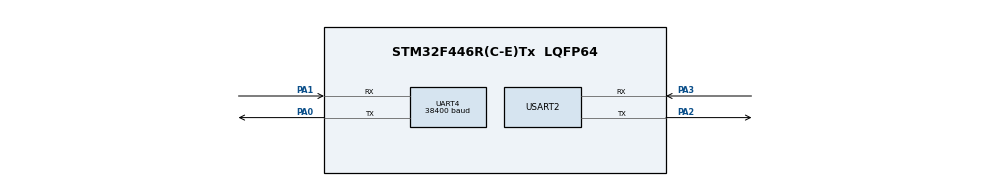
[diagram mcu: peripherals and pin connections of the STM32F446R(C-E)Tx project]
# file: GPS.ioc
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Dma.Request0=UART4_RX
Dma.UART4_RX.0.Direction=DMA_PERIPH_TO_MEMORY
Dma.UART4_RX.0.FIFOMode=DMA_FIFOMODE_DISABLE
Dma.UART4_RX.0.Instance=DMA1_Stream2
Dma.UART4_RX.0.MemDataAlignment=DMA_MDATAALIGN_BYTE
Dma.UART4_RX.0.MemInc=DMA_MINC_ENABLE
Dma.UART4_RX.0.Mode=DMA_CIRCULAR
Dma.UART4_RX.0.PeriphDataAlignment=DMA_PDATAALIGN_BYTE
Dma.UART4_RX.0.PeriphInc=DMA_PINC_DISABLE
Dma.UART4_RX.0.Priority=DMA_PRIORITY_VERY_HIGH
Mcu.Family=STM32F4
Mcu.Name=STM32F446R(C-E)Tx
Mcu.Package=LQFP64
NVIC.DMA1_Stream2_IRQn=true\:0\:0\:false\:false\:true\:false\:true\:true
NVIC.PriorityGroup=NVIC_PRIORITYGROUP_4
NVIC.UART4_IRQn=true\:0\:0\:false\:false\:true\:true\:true\:true
PA0-WKUP.Mode=Asynchronous
PA0-WKUP.Signal=UART4_TX
PA1.Mode=Asynchronous
PA1.Signal=UART4_RX
PA2.Mode=Asynchronous
PA2.Signal=USART2_TX
PA3.Mode=Asynchronous
PA3.Signal=USART2_RX
ProjectManager.HeapSize=0x200
ProjectManager.StackSize=0x400
ProjectManager.TargetToolchain=STM32CubeIDE
RCC.CortexFreq_Value=16000000
RCC.USBFreq_Value=96000000
RCC.VCOOutputFreq_Value=192000000
UART4.BaudRate=38400
UART4.VirtualMode=Asynchronous
USART2.VirtualMode=VM_ASYNC
board=custom

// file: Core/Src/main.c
/* USER CODE BEGIN Header */
/**
  ******************************************************************************
  * @file           : main.c
  * @brief          : Main program body
  ******************************************************************************
  * @attention
  *
  * Copyright (c) 2024 STMicroelectronics.
  * All rights reserved.
  *
  * This software is licensed under terms that can be found in the LICENSE file
  * in the root directory of this software component.
  * If no LICENSE file comes with this software, it is provided AS-IS.
  *
  ******************************************************************************
  */
/* USER CODE END Header */
#include "main.h"

/* USER CODE BEGIN Includes */
#include <string.h>
#include <stdio.h>
#include <stdlib.h>
#include <stdbool.h>

//ligar o tx no A1
//ligar o rx no A0

/* USER CODE END Includes */

UART_HandleTypeDef huart4;
UART_HandleTypeDef huart2;
DMA_HandleTypeDef hdma_uart4_rx;

/* USER CODE BEGIN PV */

char uart_msg[1050]; 		// Buffer para mensagens a serem enviadas pelo UART4

#define RX_BUFFER_SIZE 1024  // Tamanho do buffer circular
uint8_t rxBuffer[RX_BUFFER_SIZE];  // Buffer para recepção via DMA
uint8_t processBuffer[RX_BUFFER_SIZE]; // Buffer para processar os dados
volatile uint16_t writeIndex = 0;  // Índice de escrita no buffer circular

char latitude[20] = "";
char longitude[20] = "";
char timeUTC[20] = "";
int satellitesConnected = 0;
float hdop = 0.0;
float altitude = 0.0;

/* USER CODE END PV */

void SystemClock_Config(void);
static void MX_GPIO_Init(void);
static void MX_DMA_Init(void);
static void MX_USART2_UART_Init(void);
static void MX_UART4_Init(void);

/* USER CODE BEGIN 0 */
/*void processReceivedData(uint8_t *buffer, uint16_t length) {
    // Função para processar os dados no buffer
    for (uint16_t i = 0; i < length; i++) {
        // Exemplo: Imprime cada byte recebido no monitor serial
        char c = buffer[i];
        HAL_UART_Transmit(&huart2, (uint8_t *)&c, 1, HAL_MAX_DELAY);
    }
}*/

void processReceivedData(char *data) {
    char *line = strtok(data, "\n"); // Divide os dados por linha (sentenças NMEA)
    bool hasGNGGA = false, hasGNRMC = false;

    while (line != NULL) {
        if (!hasGNGGA && strstr(line, "$GNGGA") != NULL) {
            processGNGGA(line);
            hasGNGGA = true;
        } else if (!hasGNRMC && strstr(line, "$GNRMC") != NULL) {
            processGNRMC(line);
            hasGNRMC = true;
        }

        // Se ambas as informações foram encontradas, para a análise
        if (hasGNGGA && hasGNRMC) {
            break;
        }

        line = strtok(NULL, "\n"); // Próxima linha
    }

    // Exibe informações processadas (apenas para debug)
    snprintf(uart_msg, sizeof(uart_msg), "Time (UTC): %s\r\n", timeUTC);
    HAL_UART_Transmit(&huart2, (uint8_t*)uart_msg, strlen(uart_msg), HAL_MAX_DELAY);

    snprintf(uart_msg, sizeof(uart_msg), "Latitude: %s\r\n", latitude);
	HAL_UART_Transmit(&huart2, (uint8_t*)uart_msg, strlen(uart_msg), HAL_MAX_DELAY);

    snprintf(uart_msg, sizeof(uart_msg), "Longitude: %s\r\n", longitude);
	HAL_UART_Transmit(&huart2, (uint8_t*)uart_msg, strlen(uart_msg), HAL_MAX_DELAY);

    snprintf(uart_msg, sizeof(uart_msg), "Satellites Connected: %d\r\n", satellitesConnected);
	HAL_UART_Transmit(&huart2, (uint8_t*)uart_msg, strlen(uart_msg), HAL_MAX_DELAY);

    snprintf(uart_msg, sizeof(uart_msg), "HDOP: %.2f\r\n", hdop);
	HAL_UART_Transmit(&huart2, (uint8_t*)uart_msg, strlen(uart_msg), HAL_MAX_DELAY);

    snprintf(uart_msg, sizeof(uart_msg), "Altitude: %.2f m\r\n", altitude);
	HAL_UART_Transmit(&huart2, (uint8_t*)uart_msg, strlen(uart_msg), HAL_MAX_DELAY);
}

void HAL_UART_RxCpltCallback(UART_HandleTypeDef *huart) {
    if (huart->Instance == UART4) { // Verifica se a interrupção é da UART esperada
        // Copia os dados recebidos para o buffer de processamento
        memcpy(processBuffer, rxBuffer, RX_BUFFER_SIZE);

        // Reinicia a recepção via DMA
        HAL_UART_Receive_DMA(&huart4, rxBuffer, RX_BUFFER_SIZE);

        // Processa os dados recebidos
        //processReceivedData(processBuffer, RX_BUFFER_SIZE);
        processReceivedData((char *)processBuffer);
    }
}

void processGNGGA(char *sentence) {
    char *token = strtok(sentence, ",");
    int field = 0;

    while (token != NULL) {
        switch (field) {
            case 1: strcpy(timeUTC, token); break;          // Campo 1: Hora UTC
            case 2: strcpy(latitude, token); break;         // Campo 2: Latitude
            case 4: strcpy(longitude, token); break;        // Campo 4: Longitude
            case 7: satellitesConnected = atoi(token); break; // Campo 7: Satélites conectados
            case 8: hdop = atof(token); break;             // Campo 8: HDOP (precisão horizontal)
            case 9: altitude = atof(token); break;         // Campo 9: Altitude
        }
        token = strtok(NULL, ",");
        field++;
    }
}

void processGNRMC(char *sentence) {
    char *token = strtok(sentence, ",");
    int field = 0;

    while (token != NULL) {
        switch (field) {
            case 1: strcpy(timeUTC, token); break;  // Campo 1: Hora UTC
            case 3: strcpy(latitude, token); break; // Campo 3: Latitude
            case 5: strcpy(longitude, token); break; // Campo 5: Longitude
        }
        token = strtok(NULL, ",");
        field++;
    }
}

/* USER CODE END 0 */

int main(void)
{

  /* MCU Configuration--------------------------------------------------------*/

  /* Reset of all peripherals, Initializes the Flash interface and the Systick. */
  HAL_Init();

  /* Configure the system clock */
  SystemClock_Config();

  /* Initialize all configured peripherals */
  MX_GPIO_Init();
  MX_DMA_Init();
  MX_USART2_UART_Init();
  MX_UART4_Init();
  /* USER CODE BEGIN 2 */

  // UART4 para GNSS
  // UART2 para comunicação com o terminal

  snprintf(uart_msg, sizeof(uart_msg), "À espera da receção...\r\n");
  HAL_UART_Transmit(&huart2, (uint8_t*)uart_msg, strlen(uart_msg), HAL_MAX_DELAY);
  // Inicia a recepção pela UART
  //HAL_UART_Receive_IT(&huart4, &received_byte, 1);
  HAL_UART_Receive_DMA(&huart4, rxBuffer, RX_BUFFER_SIZE);

  /* USER CODE END 2 */

  /* Infinite loop */
  while (1)
  {

  }
}

void SystemClock_Config(void)
{
  RCC_OscInitTypeDef RCC_OscInitStruct = {0};
  RCC_ClkInitTypeDef RCC_ClkInitStruct = {0};

  /** Configure the main internal regulator output voltage
  */
  __HAL_RCC_PWR_CLK_ENABLE();
  __HAL_PWR_VOLTAGESCALING_CONFIG(PWR_REGULATOR_VOLTAGE_SCALE3);

  /** Initializes the RCC Oscillators according to the specified parameters
  * in the RCC_OscInitTypeDef structure.
  */
  RCC_OscInitStruct.OscillatorType = RCC_OSCILLATORTYPE_HSI;
  RCC_OscInitStruct.HSIState = RCC_HSI_ON;
  RCC_OscInitStruct.HSICalibrationValue = RCC_HSICALIBRATION_DEFAULT;
  RCC_OscInitStruct.PLL.PLLState = RCC_PLL_NONE;
  if (HAL_RCC_OscConfig(&RCC_OscInitStruct) != HAL_OK)
  {
    Error_Handler();
  }

  /** Initializes the CPU, AHB and APB buses clocks
  */
  RCC_ClkInitStruct.ClockType = RCC_CLOCKTYPE_HCLK|RCC_CLOCKTYPE_SYSCLK
                              |RCC_CLOCKTYPE_PCLK1|RCC_CLOCKTYPE_PCLK2;
  RCC_ClkInitStruct.SYSCLKSource = RCC_SYSCLKSOURCE_HSI;
  RCC_ClkInitStruct.AHBCLKDivider = RCC_SYSCLK_DIV1;
  RCC_ClkInitStruct.APB1CLKDivider = RCC_HCLK_DIV1;
  RCC_ClkInitStruct.APB2CLKDivider = RCC_HCLK_DIV1;

  if (HAL_RCC_ClockConfig(&RCC_ClkInitStruct, FLASH_LATENCY_0) != HAL_OK)
  {
    Error_Handler();
  }
}

static void MX_UART4_Init(void)
{

  huart4.Instance = UART4;
  huart4.Init.BaudRate = 38400;
  huart4.Init.WordLength = UART_WORDLENGTH_8B;
  huart4.Init.StopBits = UART_STOPBITS_1;
  huart4.Init.Parity = UART_PARITY_NONE;
  huart4.Init.Mode = UART_MODE_TX_RX;
  huart4.Init.HwFlowCtl = UART_HWCONTROL_NONE;
  huart4.Init.OverSampling = UART_OVERSAMPLING_16;
  if (HAL_UART_Init(&huart4) != HAL_OK)
  {
    Error_Handler();
  }

}

static void MX_USART2_UART_Init(void)
{

  huart2.Instance = USART2;
  huart2.Init.BaudRate = 115200;
  huart2.Init.WordLength = UART_WORDLENGTH_8B;
  huart2.Init.StopBits = UART_STOPBITS_1;
  huart2.Init.Parity = UART_PARITY_NONE;
  huart2.Init.Mode = UART_MODE_TX_RX;
  huart2.Init.HwFlowCtl = UART_HWCONTROL_NONE;
  huart2.Init.OverSampling = UART_OVERSAMPLING_16;
  if (HAL_UART_Init(&huart2) != HAL_OK)
  {
    Error_Handler();
  }

}

static void MX_DMA_Init(void)
{

  /* DMA controller clock enable */
  __HAL_RCC_DMA1_CLK_ENABLE();

  /* DMA interrupt init */
  /* DMA1_Stream2_IRQn interrupt configuration */
  HAL_NVIC_SetPriority(DMA1_Stream2_IRQn, 0, 0);
  HAL_NVIC_EnableIRQ(DMA1_Stream2_IRQn);

}

static void MX_GPIO_Init(void)
{

  /* GPIO Ports Clock Enable */
  __HAL_RCC_GPIOA_CLK_ENABLE();

}

void Error_Handler(void)
{
  __disable_irq();
  while (1)
  {
  }
}
